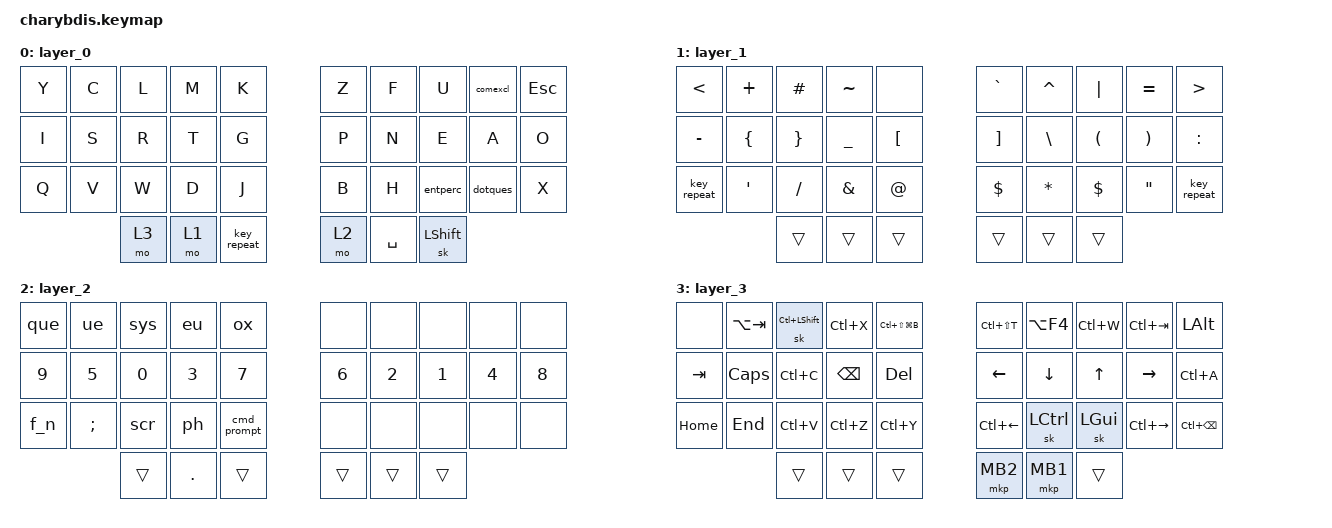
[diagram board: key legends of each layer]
#include <behaviors.dtsi>
#include <dt-bindings/zmk/bt.h>
#include <dt-bindings/zmk/keys.h>
#include <dt-bindings/zmk/pointing.h>
#include <dt-bindings/zmk/rgb.h>
#include <input/processors.dtsi>
/ { 
    scroller {
	        layers = <1>;
	        input-processors = <&zip_xy_to_scroll_mapper>;
	};
    behaviors {
        ht: hold_tap {
            display-name = "Hold Tap";
            label = "hold_tap";
            compatible = "zmk,behavior-hold-tap";
            #binding-cells = <2>;
            flavor = "balanced";
            tapping-term-ms = <220>;
            quick-tap-ms = <200>;
            // global-quick-tap;
            bindings = <&kp>, <&kp>;
        };
        lt: layer_tap {
            display-name = "Layer Tap";
            compatible = "zmk,behavior-hold-tap";
            label = "LAYER_TAP";
            #binding-cells = <2>;
            // flavor = "balanced";
            tapping-term-ms = <200>;
            quick-tap-ms = <200>;
            // global-quick-tap;
            bindings = <&mo>, <&kp>;
        };
        rot_msc: sensor_rotate_msc {
            compatible = "zmk,behavior-sensor-rotate-var";
            #sensor-binding-cells = <2>;
            bindings = <&msc>, <&msc>;
            tap-ms = <20>;
        };
        comexcl: comma_excl {
            compatible = "zmk,behavior-mod-morph";
            #binding-cells = <0>;
            bindings = <&kp COMMA>, <&kp EXCL>;
            mods = <(MOD_LSFT)>;
        };
        dotques: dot_question {
            compatible = "zmk,behavior-mod-morph";
            #binding-cells = <0>;
            bindings = <&kp DOT>, <&kp QUESTION>;
            mods = <(MOD_LSFT)>;
        };
        entperc: enter_percentage {
            compatible = "zmk,behavior-mod-morph";
            #binding-cells = <0>;
            bindings = <&kp ENTER>, <&kp PERCENT>;
            mods = <(MOD_LSFT)>;
        };
    };

    macros {
        To1_macro: To1_macro {
            compatible = "zmk,behavior-macro";
            label = "To1_macro";
            #binding-cells = <0>;
            bindings = <&rgb_ug RGB_EFF &rgb_ug RGB_COLOR_HSB(128,100,50) &to 1>;
        };

        To0_macro: To0_macro {
            compatible = "zmk,behavior-macro";
            label = "To0_macro";
            #binding-cells = <0>;
            bindings = <&rgb_ug RGB_EFR &to 0>;
        };

        To2_macro: To2_macro {
            compatible = "zmk,behavior-macro";
            label = "To2_macro";
            #binding-cells = <0>;
            bindings =
                <&to 0>,
                <&macro_wait_time 30>,
                <&rgb_ug RGB_COLOR_HSB(250,100,50)>;
        };

        ue: ue {
            compatible = "zmk,behavior-macro";
            #binding-cells = <0>;
            bindings = <&macro_tap &kp U &kp E>;
        };
        eu: eu {
            compatible = "zmk,behavior-macro";
            #binding-cells = <0>;
            bindings = <&macro_tap &kp E &kp U>;
        };
        ox: ox {
            compatible = "zmk,behavior-macro";
            #binding-cells = <0>;
            bindings = <&macro_tap &kp O &kp X>;
        };
        ph: ph {
            compatible = "zmk,behavior-macro";
            #binding-cells = <0>;
            bindings = <&macro_tap &kp P &kp H>;
        };
		f_n: f_n {
            compatible = "zmk,behavior-macro";
            #binding-cells = <0>;
            bindings = <&macro_tap &kp F &kp N>;
        };
        que: que {
            compatible = "zmk,behavior-macro";
            #binding-cells = <0>;
            bindings = <&macro_tap &kp Q &kp U &kp E>;
        };
        sys: sys {
            compatible = "zmk,behavior-macro";
            #binding-cells = <0>;
            bindings = <&macro_tap &kp S &kp Y &kp S>;
        };
        scr: scr{
            compatible = "zmk,behavior-macro";
            #binding-cells = <0>;
            bindings = <&macro_tap &kp S &kp C &kp R>;
        };
        cmd_prompt: cmd_prompt {
            compatible = "zmk,behavior-macro";
            #binding-cells = <0>;  
            bindings 
                = <&macro_tap &kp LG(R)>
                , <&macro_tap &kp C &kp M &kp D>
                , <&macro_tap &kp ENTER>
                ;
        };
    };

    keymap {
        compatible = "zmk,keymap";

        layer_0 {
            bindings = <
        //╭──────────┬──────────┬──────────┬──────────┬──────────╮   ╭──────────┬──────────┬──────────┬──────────┬──────────╮
        //│  Y       │  C       │  L       │  M       │  K       │   │  Z       │  F       │  U       │  , !     │   ESC    │
            &kp Y      &kp C      &kp L      &kp M      &kp K          &kp Z      &kp F      &kp U      &comexcl   &kp ESC
        //├──────────┼──────────┼──────────┼──────────┼──────────┤   ├──────────┼──────────┼──────────┼──────────┼──────────┤
        //│  I       │  S       │  R       │  T       │  G       │   │  P       │  N       │  E       │  A       │   O      │
            &kp I      &kp S      &kp R      &kp T      &kp G          &kp P      &kp N      &kp E      &kp A      &kp O
        //├──────────┼──────────┼──────────┼──────────┼──────────┤   ├──────────┼──────────┼──────────┼──────────┼──────────┤
        //│  Q       │  V       │  W       │  D       │  J       │   │  B       │  H       │  ENTER % │  . ?     │   X      |
            &kp Q      &kp V      &kp W      &kp D      &kp J          &kp B      &kp H      &entperc   &dotques   &kp X
        //╰──────────┴──────────┴──────────┼──────────┼──────────┤   ├──────────┼──────────┼──────────┴──────────┴──────────╯
                                  &mo 3      &mo 1      &key_repeat    &mo  2     &kp SPACE  &sk LSHIFT 
        //                      ╰──────────┴──────────┴──────────╯   ╰──────────┴──────────┴──────────╯
            >;
        };

        layer_1 {
     		bindings = <
        //╭──────────┬──────────┬──────────┬──────────┬──────────╮   ╭──────────┬──────────┬──────────┬──────────┬──────────╮
        //│  <       │  +       │  #       │  ~       │          │   │  `       │  ^       │  |       │  =       │  >       │
            &kp LT      &kp PLUS   &kp HASH   &kp TILDE  &none          &kp GRAVE &kp CARET  &kp PIPE   &kp EQUAL  &kp GT
        //├──────────┼──────────┼──────────┼──────────┼──────────┤   ├──────────┼──────────┼──────────┼──────────┼──────────┤
        //│  -       │  {       │  }       │  _       │  [       │   │  ]       │  \       │  (       │  )       │  :       │  
            &kp MINUS   &kp LBRC   &kp RBRC   &kp UNDER &kp LBKT       &kp RBKT   &kp BSLH   &kp LPAR   &kp RPAR   &kp COLON
        //├──────────┼──────────┼──────────┼──────────┼──────────┤   ├──────────┼──────────┼──────────┼──────────┼──────────┤
        //│  repeat  │  '       │  /       │  &       │  @       │   │  $       │  *       │  $       │  "       │  repeat  |
            &key_repeat &kp APOS   &kp FSLH   &kp AMPS  &kp AT         &kp DLLR   &kp ASTRK  &kp DLLR   &kp DQT    &key_repeat
        //╰──────────┴──────────┴──────────┼──────────┼──────────┤   ├──────────┼──────────┼──────────┴──────────┴──────────╯ 
                                   &trans     &trans    &trans         &trans     &trans     &trans
        //                      ╰──────────┴──────────┴──────────╯   ╰──────────┴──────────┴──────────╯
            >;
        };


        layer_2 {
		    bindings = <
        //╭──────────┬──────────┬──────────┬──────────┬──────────╮   ╭──────────┬──────────┬──────────┬──────────┬──────────╮
        //│          |          │          │          │          │   │          │          │          │          │          │
            &que       &ue         &sys       &eu       &ox            &none     &none       &none      &none      &none   
        //├──────────┼──────────┼──────────┼──────────┼──────────┤   ├──────────┼──────────┼──────────┼──────────┼──────────┤
        //│ 9        │ 5        │  0       │  3       │ 7        │   │ 6        │ 2        │ 1        │ 4        │  8       │
            &kp N9     &kp N5      &kp N0     &kp N3    &kp N7         &kp N6     &kp N2     &kp N1     &kp N4     &kp N8   
        //├──────────┼──────────┼──────────┼──────────┼──────────┤   ├──────────┼──────────┼──────────┼──────────┼──────────┤
        //│          |          │          │          │          │   │          │          │          │          │          │
            &f_n       &kp SEMI    &scr       &ph     	&cmd_prompt    &none      &none      &none      &none     &none   
        //╰──────────┴──────────┴──────────┼──────────┼──────────┤   ├──────────┼──────────┼──────────┴──────────┴──────────╯
                                   &trans    &kp DOT    &trans         &trans     &trans     &trans
        //                      ╰──────────┴──────────┴──────────╯   ╰──────────┴──────────┴──────────╯
            >;
        };
       
        layer_3 { 
            bindings = <
        //╭──────────┬─────────────────┬────────────────┬────────────────────┬─────────────╮   ╭──────────────┬───────────────┬─────────────┬─────────────────┬────────────────╮
        //│          | Toggle Program  │  Ctrl + Shift  │  Cut               │ Ctrl+Sft+Win│   │ Reopen Tab   │ Close Program │ Close Tab   │  Switch Tab     │ LALT           │
            &none      &kp LA(TAB)        &sk LC(LSHIFT)    &kp LC(X)         &kp LC(LS(LG(B)))    &kp LC(LS(T))   &kp LA(F4)   &kp LC(W)     &kp LC(TAB)       &kp LALT 
        //├──────────┼─────────────────┼────────────────┼────────────────────┼─────────────┤   ├──────────────┼───────────────┼─────────────┼─────────────────┼────────────────┤
        //│ TAB      │  CAPS           │  Copy          │  BACKSPACE         │ DELETE      │   │ Left         │ Down          │ Up          │ Right           │ Select All     │
            &kp TAB    &kp CAPS           &kp LC(C)         &kp BACKSPACE       &kp DEL            &kp LEFT        &kp DOWN        &kp UP        &kp RIGHT         &kp LC(A)
        //├──────────┼─────────────────┼────────────────┼────────────────────┼─────────────┤   ├──────────────┼───────────────┼─────────────┼─────────────────┼────────────────┤
        //│ HOME     │  END            │  Paste         │  Undo              │ Redo        │   │ One Word Left│ Sticky LCTRL  │ Sticky LGUI │ One Word Right  │ Delete Word    │
            &kp HOME   &kp END            &kp LC(V)        &kp LC(Z)           &kp LC(Y)          &kp LC(LEFT)    &sk LCTRL       &sk LGUI      &kp LC(RIGHT)     &kp LC(BACKSPACE)
        //╰──────────┴─────────────────┴────────────────┼────────────────────┼─────────────┤   ├──────────────┼───────────────┼─────────────┴─────────────────┴────────────────╯
                                          &trans           &trans              &trans             &mkp MB2        &mkp MB1        &trans       
        //                             ╰─────────────────┴───────────────────┴─────────────╯   ╰──────────────┴───────────────┴─────────────╯ 
            >;
        };

        /* layer_2 {
            bindings = <
&none  &none   &none    &none   &none         &none         &kp N1         &none         &none     &none  &none   &to 0
&none  &none   &none    &none   &none         &none         &none         &none          &rgb_ug RGB_BRD &rgb_ug RGB_BRI  &rgb_ug RGB_EFF   &rgb_ug RGB_TOG
&none  &none   &none    &none   &none         &none         &none         &mkp LCLK     &mkp RCLK  &none  &none   &none
&none  &none   &none    &none   &bt BT_NXT  &bt BT_CLR    &none         &none         &none     &none  &none   &none
                                   &none         &none         &none         &none         &none
                                                 &none         &none         &none
            >;
       
            
        };

       Mouse {
            bindings = <
&none        &none         &none         &none         &none      &none         &none       &none      &none         &none         &none         &none
&none        &bt BT_SEL 0  &bt BT_SEL 1  &bt BT_SEL 3  &none      &bt BT_CLR    &bt BT_CLR  &none      &bt BT_SEL 2  &bt BT_SEL 1  &bt BT_SEL 0  &none
&none        &trans        &trans        &mkp MCLK     &trans     &none         &none       &trans     &mkp MCLK     &trans        &trans        &none
&bootloader  &trans        &mkp RCLK     &mo 4         &mkp LCLK  &mo 5         &mo 5       &mkp LCLK  &mo 4         &mkp RCLK     &trans        &bootloader
                                         &mo 5         &mkp LCLK  &mkp RCLK     &mkp RCLK   &mkp LCLK
                                                       &none      &trans        &trans
            >;

            
        };

        layer_4 {
            bindings = <
&trans  &trans  &trans     &trans     &trans     &trans       &trans     &trans     &trans     &trans     &trans  &trans
&trans  &trans  &trans     &trans     &trans     &trans       &trans     &trans     &trans     &trans     &trans  &trans
&trans  &trans  &trans     &mkp MCLK  &trans     &trans       &trans     &trans     &mkp MCLK  &trans     &trans  &trans
&trans  &trans  &mkp RCLK  &trans     &mkp LCLK  &trans       &trans     &mkp LCLK  &trans     &mkp RCLK  &trans  &trans
                           &trans     &mkp LCLK  &mkp RCLK    &mkp RCLK  &mkp LCLK
                                      &trans     &trans       &trans
            >;
                
                
               
        };

        layer_5 {
            bindings = <
&trans  &trans  &trans     &trans     &trans     &trans       &trans     &trans     &trans     &trans     &trans  &trans
&trans  &trans  &trans     &trans     &trans     &trans       &trans     &trans     &trans     &trans     &trans  &trans
&trans  &trans  &trans     &mkp MCLK  &trans     &trans       &trans     &trans     &mkp MCLK  &trans     &trans  &trans
&trans  &trans  &mkp RCLK  &trans     &mkp LCLK  &trans       &trans     &mkp LCLK  &trans     &mkp RCLK  &trans  &trans
                           &trans     &mkp LCLK  &mkp RCLK    &mkp RCLK  &mkp LCLK
                                      &trans     &trans       &trans
            >;
                
                
        };*/
    };
};
